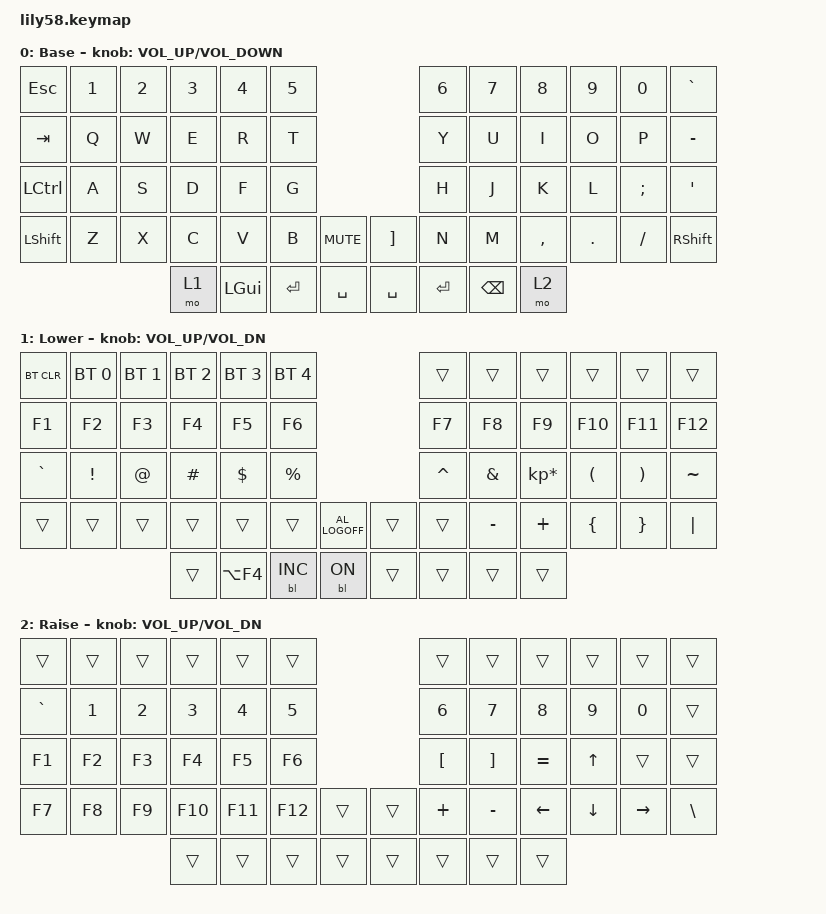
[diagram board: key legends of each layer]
/*
 * Copyright (c) 2020 The ZMK Contributors
 *
 * SPDX-License-Identifier: MIT
 */

#include <behaviors.dtsi>
#include <dt-bindings/zmk/backlight.h>
#include <dt-bindings/zmk/bt.h>
#include <dt-bindings/zmk/keys.h>

/ {
    keymap {
        compatible = "zmk,keymap";

        default_layer {
            // ------------------------------------------------------------------------------------------------------------
            // |  ESC  |  1  |  2  |  3   |  4   |  5   |                   |  6   |  7    |  8    |  9   |   0   |   `   |
            // |  TAB  |  Q  |  W  |  E   |  R   |  T   |                   |  Y   |  U    |  I    |  O   |   P   |   -   |
            // |  CTRL |  A  |  S  |  D   |  F   |  G   |                   |  H   |  J    |  K    |  L   |   ;   |   '   |
            // | SHIFT |  Z  |  X  |  C   |  V   |  B   |   "["  |  |  "]"  |  N   |  M    |  ,    |  .   |   /   | SHIFT |
            //                     | ALT  | GUI  | LOWER|  SPACE |  | ENTER | RAISE| BSPC  | GUI   |

            display-name = "Base";
            bindings = <
&kp ESC    &kp N1  &kp N2  &kp N3  &kp N4    &kp N5                              &kp N6     &kp N7    &kp N8     &kp N9   &kp N0    &kp GRAVE
&kp TAB    &kp Q   &kp W   &kp E   &kp R     &kp T                               &kp Y      &kp U     &kp I      &kp O    &kp P     &kp MINUS
&kp LCTRL  &kp A   &kp S   &kp D   &kp F     &kp G                               &kp H      &kp J     &kp K      &kp L    &kp SEMI  &kp SQT
&kp LSHFT  &kp Z   &kp X   &kp C   &kp V     &kp B      &kp C_MUTE    &kp RBKT   &kp N      &kp M     &kp COMMA  &kp DOT  &kp FSLH  &kp RSHFT
                           &mo 1   &kp LGUI  &kp ENTER  &kp SPACE     &kp SPACE  &kp ENTER  &kp BSPC  &mo 2
            >;

            sensor-bindings = <&inc_dec_kp C_VOLUME_UP C_VOLUME_DOWN>;
        };

        lower_layer {
            // ------------------------------------------------------------------------------------------------------------
            // | BTCLR | BT1 | BT2 |  BT3 |  BT4 |  BT5 |                   |      |       |       |      |       |       |
            // |  F1   |  F2 |  F3 |  F4  |  F5  |  F6  |                   |  F7  |  F8   |  F9   |  F10 |  F11  |  F12  |
            // |   `   |  !  |  @  |  #   |  $   |  %   |                   |  ^   |  &    |  *    |  (   |   )   |   ~   |
            // |       |     |     |      |      |      |        |  |       |      |  _    |  +    |  {   |   }   |  "|"  |
            //                     |      |      |      |        |  |       |      |       |       |

            display-name = "Lower";
            bindings = <
&bt BT_CLR  &bt BT_SEL 0  &bt BT_SEL 1  &bt BT_SEL 2  &bt BT_SEL 3  &bt BT_SEL 4                             &trans     &trans     &trans           &trans    &trans    &trans
&kp F1      &kp F2        &kp F3        &kp F4        &kp F5        &kp F6                                   &kp F7     &kp F8     &kp F9           &kp F10   &kp F11   &kp F12
&kp GRAVE   &kp EXCL      &kp AT        &kp HASH      &kp DOLLAR    &kp PRCNT                                &kp CARET  &kp AMPS   &kp KP_MULTIPLY  &kp LPAR  &kp RPAR  &kp TILDE
&trans      &trans        &trans        &trans        &trans        &trans        &kp C_AL_LOGOFF    &trans  &trans     &kp MINUS  &kp PLUS         &kp LBRC  &kp RBRC  &kp PIPE
                                        &trans        &kp LA(F4)    &bl BL_INC    &bl BL_ON          &trans  &trans     &trans     &trans
            >;

            sensor-bindings = <&inc_dec_kp C_VOL_UP C_VOL_DN>;
        };

        raise_layer {
            // ------------------------------------------------------------------------------------------------------------
            // |       |     |     |      |      |      |                   |      |       |       |      |       |       |
            // |   `   |  1  |  2  |  3   |  4   |  5   |                   |  6   |   7   |   8   |  9   |   0   |       |
            // |   F1  |  F2 |  F3 |  F4  |  F5  |  F6  |                   |      |   <-  |   v   |  ^   |  ->   |       |
            // |   F7  |  F8 |  F9 |  F10 |  F11 |  F12 |        |  |       |  +   |   -   |   =   |  [   |   ]   |   \   |
            //                     |      |      |      |        |  |       |      |       |       |

            display-name = "Raise";
            bindings = <
&trans     &trans  &trans  &trans   &trans   &trans                     &trans            &trans             &trans     &trans          &trans     &trans
&kp GRAVE  &kp N1  &kp N2  &kp N3   &kp N4   &kp N5                     &kp N6            &kp N7             &kp N8     &kp N9          &kp N0     &trans
&kp F1     &kp F2  &kp F3  &kp F4   &kp F5   &kp F6                     &kp LEFT_BRACKET  &kp RIGHT_BRACKET  &kp EQUAL  &kp UP          &trans     &trans
&kp F7     &kp F8  &kp F9  &kp F10  &kp F11  &kp F12  &trans    &trans  &kp PLUS          &kp MINUS          &kp LEFT   &kp DOWN_ARROW  &kp RIGHT  &kp BSLH
                           &trans   &trans   &trans   &trans    &trans  &trans            &trans             &trans
            >;

            sensor-bindings = <&inc_dec_kp C_VOL_UP C_VOL_DN>;
        };
    };
};
